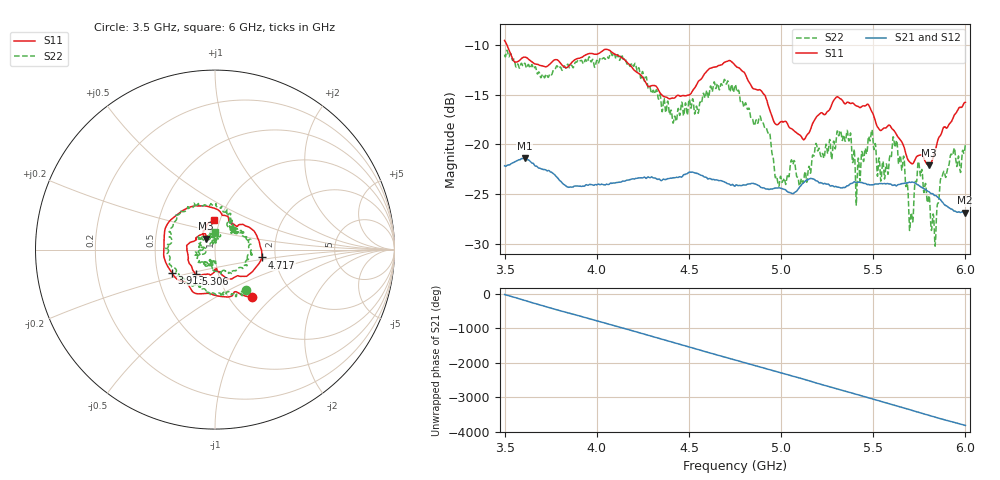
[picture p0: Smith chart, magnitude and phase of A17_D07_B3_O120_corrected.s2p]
! Created with skrf 1.9.0 (http://scikit-rf.org).
# Hz S RI R 50.0
!freq ReS11 ImS11 ReS21 ImS21 ReS12 ImS12 ReS22 ImS22
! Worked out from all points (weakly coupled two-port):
!   1601 points, 3.5 GHz to 6 GHz, reference 50 ohm
!   highest |S21| = -21.40 dB at 3.609 GHz (marker M1); lowest = -26.9 dB at 5.995 GHz (marker M2)
!   lowest |S11| = -22.1 dB at 5.803 GHz (marker M3), VSWR 1.17, Z = 44.9 + j5.46 ohm
!   |S11| at or under -10 dB: 3.513 GHz to end of sweep
!   |S22| runs from -30.3 to -10.5 dB; largest |S21 - S12| = 0.001
!   S11 on the Smith chart (normalised r, x): 3.5 GHz: 1.26, -0.75; 3.913 GHz: 0.59, -0.16; 4.717 GHz: 1.70, -0.16; 5.306 GHz: 0.78, -0.22; 6 GHz: 0.93, +0.31
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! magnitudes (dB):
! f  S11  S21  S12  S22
! 3.5 GHz  -9.5  -22.2  -22.1  -11.0
! 3.609 GHz  -11.2  -21.4  -21.4  -11.8
! 3.913 GHz  -11.3  -24.2  -24.2  -11.6
! 3.917 GHz  -11.3  -24.2  -24.2  -11.5
! 4.334 GHz  -14.5  -23.5  -23.5  -15.4
! 4.717 GHz  -11.6  -24.0  -24.1  -14.3
! 4.75 GHz  -12.0  -24.2  -24.1  -14.0
! 4.93 GHz  -16.0  -24.5  -24.5  -18.8
! 4.98 GHz  -18.0  -24.4  -24.4  -23.6
! 5.167 GHz  -18.1  -23.5  -23.4  -21.6
! 5.306 GHz  -15.2  -24.3  -24.3  -18.7
! 5.416 GHz  -16.2  -23.8  -23.9  -22.1
! 5.484 GHz  -16.4  -24.1  -24.1  -19.5
! 5.584 GHz  -18.1  -24.0  -23.9  -22.2
! 5.619 GHz  -18.8  -24.1  -24.1  -20.3
! 5.705 GHz  -21.9  -23.8  -23.8  -27.0
! 5.752 GHz  -21.1  -24.2  -24.2  -22.5
! 5.803 GHz  -22.1  -24.8  -24.8  -25.1
! 5.828 GHz  -21.2  -25.1  -25.0  -27.3
! 5.875 GHz  -18.6  -25.8  -25.8  -23.2
! 5.995 GHz  -15.8  -26.9  -26.8  -20.7
! 6 GHz  -15.8  -26.8  -26.8  -20.0
